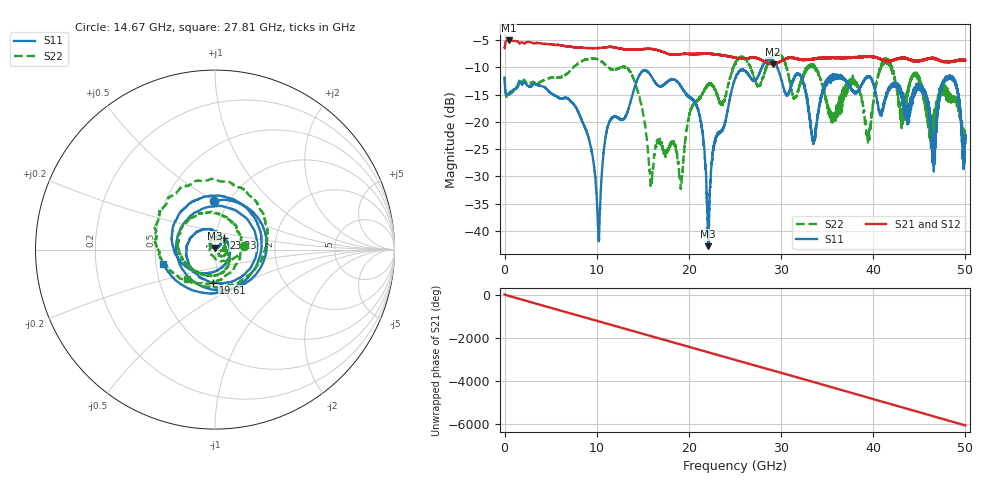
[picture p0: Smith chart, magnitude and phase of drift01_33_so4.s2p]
!Created with skrf (http://scikit-rf.org).
# Hz S RI R 50.0
!freq ReS11 ImS11 ReS21 ImS21 ReS12 ImS12 ReS22 ImS22
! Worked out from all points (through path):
!   10001 points, 300 kHz to 50 GHz, reference 50 ohm
!   highest |S21| = -5.05 dB at 425.3 MHz (marker M1); lowest = -9.4 dB at 29.12 GHz (marker M2)
!   group delay of S21, straight-line fit = 336 ps
!   lowest |S11| = -42.8 dB at 22.09 GHz (marker M3), VSWR 1.01, Z = 49.9 + j0.717 ohm
!   |S11| at or under -10 dB: start of sweep to 27.92 GHz; 29.59 GHz to end of sweep
!   |S22| runs from -32.3 to -7.5 dB; largest |S21 - S12| = 0.012
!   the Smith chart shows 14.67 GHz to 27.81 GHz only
!   S11 on the Smith chart (normalised r, x): 14.67 GHz: 0.86, +0.50; 19.61 GHz: 0.92, -0.35; 23.23 GHz: 1.09, +0.14; 27.81 GHz: 0.54, -0.09
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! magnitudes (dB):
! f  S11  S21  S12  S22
! 300 kHz  -11.9  -6.4  -6.6  -11.7
! 425.3 MHz  -14.8  -5.1  -5.1  -15.1
! 8.335 GHz  -19.6  -6.3  -6.4  -8.9
! 10.2 GHz  -41.3  -6.5  -6.4  -8.6
! 11.23 GHz  -20.6  -6.2  -6.3  -10.0
! 14.67 GHz  -11.3  -6.7  -6.7  -15.7
! 15.88 GHz  -11.5  -6.6  -6.6  -31.0
! 16.67 GHz  -13.4  -6.9  -6.9  -23.1
! 19.61 GHz  -14.7  -7.5  -7.5  -23.4
! 21.23 GHz  -19.5  -7.5  -7.5  -15.6
! 22.09 GHz  -42.8  -7.5  -7.5  -13.2
! 23.23 GHz  -21.9  -7.7  -7.7  -15.9
! 25 GHz  -12.1  -8.2  -8.3  -9.5
! 27.81 GHz  -10.4  -8.6  -8.6  -12.9
! 29.12 GHz  -8.7  -9.4  -9.4  -7.9
! 33.34 GHz  -22.3  -8.5  -8.4  -9.5
! 39.47 GHz  -11.7  -8.0  -8.0  -22.4
! 41.67 GHz  -13.9  -8.8  -8.7  -8.8
! 45.47 GHz  -14.0  -8.5  -8.6  -15.7
! 46.55 GHz  -26.3  -8.3  -8.3  -20.0
! 48.53 GHz  -12.0  -8.9  -8.9  -15.4
! 50 GHz  -22.5  -8.7  -8.7  -23.1
